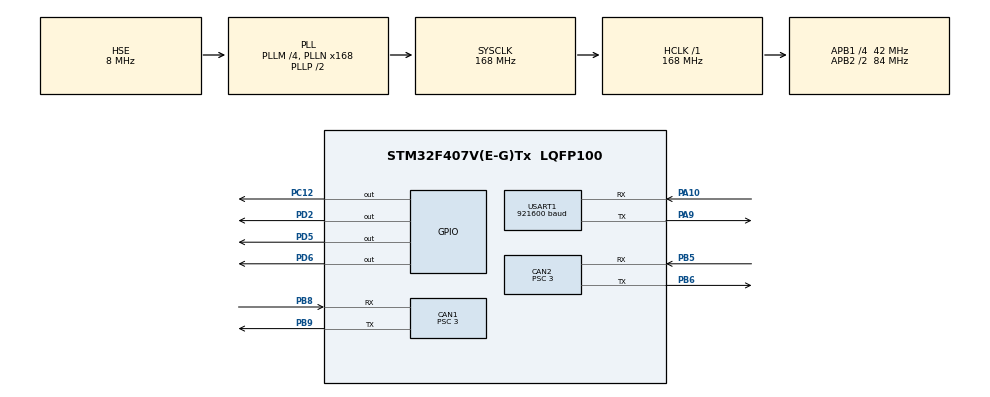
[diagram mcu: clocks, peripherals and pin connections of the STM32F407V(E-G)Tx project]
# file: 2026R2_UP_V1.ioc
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CAN1.ABOM=ENABLE
CAN1.AWUM=ENABLE
CAN1.BS1=CAN_BS1_9TQ
CAN1.BS2=CAN_BS2_4TQ
CAN1.CalculateBaudRate=1000000
CAN1.CalculateTimeBit=1000
CAN1.CalculateTimeQuantum=71.42857142857143
CAN1.NART=ENABLE
CAN1.Prescaler=3
CAN2.BS1=CAN_BS1_9TQ
CAN2.BS2=CAN_BS2_4TQ
CAN2.CalculateBaudRate=1000000
CAN2.CalculateTimeBit=1000
CAN2.CalculateTimeQuantum=71.42857142857143
CAN2.NART=ENABLE
CAN2.Prescaler=3
Dma.Request0=USART1_RX
Dma.Request1=USART1_TX
Dma.USART1_RX.0.Direction=DMA_PERIPH_TO_MEMORY
Dma.USART1_RX.0.FIFOMode=DMA_FIFOMODE_DISABLE
Dma.USART1_RX.0.Instance=DMA2_Stream2
Dma.USART1_RX.0.MemDataAlignment=DMA_MDATAALIGN_BYTE
Dma.USART1_RX.0.MemInc=DMA_MINC_ENABLE
Dma.USART1_RX.0.Mode=DMA_NORMAL
Dma.USART1_RX.0.PeriphDataAlignment=DMA_PDATAALIGN_BYTE
Dma.USART1_RX.0.PeriphInc=DMA_PINC_DISABLE
Dma.USART1_RX.0.Priority=DMA_PRIORITY_LOW
Dma.USART1_TX.1.Direction=DMA_MEMORY_TO_PERIPH
Dma.USART1_TX.1.FIFOMode=DMA_FIFOMODE_DISABLE
Dma.USART1_TX.1.Instance=DMA2_Stream7
Dma.USART1_TX.1.MemDataAlignment=DMA_MDATAALIGN_BYTE
Dma.USART1_TX.1.MemInc=DMA_MINC_ENABLE
Dma.USART1_TX.1.Mode=DMA_NORMAL
Dma.USART1_TX.1.PeriphDataAlignment=DMA_PDATAALIGN_BYTE
Dma.USART1_TX.1.PeriphInc=DMA_PINC_DISABLE
Dma.USART1_TX.1.Priority=DMA_PRIORITY_LOW
FREERTOS.Tasks01=WithinBoardComm,0,128,withinBoardCommunicate,Default,NULL,Dynamic,NULL,NULL;SendCANmsg,-3,1024,sendCANmsg,Default,NULL,Dynamic,NULL,NULL;Calculation,-3,512,calculation,Default,NULL,Dynamic,NULL,NULL;StateMachine,-3,1024,myStateMachine,Default,NULL,Dynamic,NULL,NULL
Mcu.Family=STM32F4
Mcu.Name=STM32F407V(E-G)Tx
Mcu.Package=LQFP100
NVIC.CAN1_RX0_IRQn=true\:5\:0\:false\:false\:true\:true\:true\:true\:true
NVIC.CAN2_RX0_IRQn=true\:5\:0\:false\:false\:true\:true\:true\:true\:true
NVIC.DMA2_Stream2_IRQn=true\:5\:0\:false\:false\:true\:true\:false\:true\:true
NVIC.DMA2_Stream7_IRQn=true\:5\:0\:false\:false\:true\:true\:false\:true\:true
NVIC.PriorityGroup=NVIC_PRIORITYGROUP_4
NVIC.TIM3_IRQn=true\:5\:0\:false\:false\:true\:true\:true\:true\:true
NVIC.TIM6_DAC_IRQn=true\:15\:0\:false\:false\:true\:false\:false\:true\:true
NVIC.TimeBase=TIM6_DAC_IRQn
NVIC.TimeBaseIP=TIM6
NVIC.USART1_IRQn=true\:5\:0\:false\:false\:true\:true\:false\:true\:true
PA10.GPIO_PuPd=GPIO_PULLUP
PA10.Mode=Asynchronous
PA10.Signal=USART1_RX
PA13.Mode=Serial_Wire
PA13.Signal=SYS_JTMS-SWDIO
PA14.Mode=Serial_Wire
PA14.Signal=SYS_JTCK-SWCLK
PA9.GPIO_PuPd=GPIO_PULLUP
PA9.Mode=Asynchronous
PA9.Signal=USART1_TX
PB5.GPIO_PuPd=GPIO_PULLUP
PB5.Mode=CAN_Activate
PB5.Signal=CAN2_RX
PB6.GPIO_PuPd=GPIO_PULLUP
PB6.Mode=CAN_Activate
PB6.Signal=CAN2_TX
PB8.GPIO_PuPd=GPIO_PULLUP
PB8.Mode=CAN_Activate
PB8.Signal=CAN1_RX
PB9.GPIO_PuPd=GPIO_PULLUP
PB9.Mode=CAN_Activate
PB9.Signal=CAN1_TX
PC12.GPIO_PuPd=GPIO_PULLUP
PC12.GPIO_Speed=GPIO_SPEED_FREQ_VERY_HIGH
PC12.Signal=GPIO_Output
PC14-OSC32_IN.Mode=LSE-External-Oscillator
PC14-OSC32_IN.Signal=RCC_OSC32_IN
PC15-OSC32_OUT.Mode=LSE-External-Oscillator
PC15-OSC32_OUT.Signal=RCC_OSC32_OUT
PD2.GPIO_PuPd=GPIO_PULLDOWN
PD2.GPIO_Speed=GPIO_SPEED_FREQ_VERY_HIGH
PD2.Signal=GPIO_Output
PD5.GPIO_PuPd=GPIO_PULLUP
PD5.GPIO_Speed=GPIO_SPEED_FREQ_VERY_HIGH
PD5.Signal=GPIO_Output
PD6.GPIO_PuPd=GPIO_PULLDOWN
PD6.GPIO_Speed=GPIO_SPEED_FREQ_VERY_HIGH
PD6.Signal=GPIO_Output
PH0-OSC_IN.Mode=HSE-External-Oscillator
PH0-OSC_IN.Signal=RCC_OSC_IN
PH1-OSC_OUT.Mode=HSE-External-Oscillator
PH1-OSC_OUT.Signal=RCC_OSC_OUT
ProjectManager.HeapSize=0x200
ProjectManager.StackSize=0x400
ProjectManager.TargetToolchain=MDK-ARM V5.32
RCC.48MHZClocksFreq_Value=84000000
RCC.AHBFreq_Value=168000000
RCC.APB1CLKDivider=RCC_HCLK_DIV4
RCC.APB1Freq_Value=42000000
RCC.APB1TimFreq_Value=84000000
RCC.APB2CLKDivider=RCC_HCLK_DIV2
RCC.APB2Freq_Value=84000000
RCC.APB2TimFreq_Value=168000000
RCC.CortexFreq_Value=168000000
RCC.HCLKFreq_Value=168000000
RCC.HSE_VALUE=8000000
RCC.HSI_VALUE=16000000
RCC.PLLM=4
RCC.PLLN=168
RCC.PLLSourceVirtual=RCC_PLLSOURCE_HSE
RCC.SYSCLKFreq_VALUE=168000000
RCC.SYSCLKSource=RCC_SYSCLKSOURCE_PLLCLK
RCC.VCOOutputFreq_Value=336000000
TIM3.Period=9999
TIM3.Prescaler=8399
USART1.BaudRate=921600
USART1.VirtualMode=VM_ASYNC
VP_FREERTOS_VS_CMSIS_V1.Mode=CMSIS_V1
VP_SYS_VS_tim6.Mode=TIM6
VP_TIM3_VS_ClockSourceINT.Mode=Internal
board=custom

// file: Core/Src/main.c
/* USER CODE BEGIN Header */
/**
  ******************************************************************************
  * @file           : main.c
  * @brief          : Main program body
  ******************************************************************************
  * @attention
  *
  * Copyright (c) 2025 STMicroelectronics.
  * All rights reserved.
  *
  * This software is licensed under terms that can be found in the LICENSE file
  * in the root directory of this software component.
  * If no LICENSE file comes with this software, it is provided AS-IS.
  *
  ******************************************************************************
  */
/* USER CODE END Header */
#include "main.h"
#include "cmsis_os.h"
#include "can.h"
#include "dma.h"
#include "tim.h"
#include "usart.h"
#include "gpio.h"

/* USER CODE BEGIN Includes */
#include "Robot.h"
#include "CANBsp.h"
#include "dm_motor.h"
#include "LK_motor.h"
#include "J60_motor.h"
#include "DJI_motor.h"
/* USER CODE END Includes */

void SystemClock_Config(void);
void MX_FREERTOS_Init(void);

int main(void)
{

  /* MCU Configuration--------------------------------------------------------*/

  /* Reset of all peripherals, Initializes the Flash interface and the Systick. */
  HAL_Init();

  /* Configure the system clock */
  SystemClock_Config();

  /* Initialize all configured peripherals */
  MX_GPIO_Init();
  MX_DMA_Init();
  MX_CAN1_Init();
  MX_CAN2_Init();
  MX_USART1_UART_Init();
  MX_TIM3_Init();
  /* USER CODE BEGIN 2 */
	can1_start();
	can2_start();
	HAL_TIM_Base_Start_IT(&htim3);
	__HAL_UART_ENABLE_IT(&huart1,UART_IT_IDLE);
  HAL_UART_Receive_DMA(&huart1, RxBufFromZGT, sizeof(RxBufFromZGT));
	Deep_Init(&leftShoulder,&leftShoulderCMD);
	Deep_Init(&rightShoulder,&rightShoulderCMD);
  CAN_8016_Open(&hcan1,0x141);
  dm_motor_enable(&hcan2,&stretch_DM);
	DJIMotorStart();
  /* USER CODE END 2 */

  /* Call init function for freertos objects (in cmsis_os2.c) */
  MX_FREERTOS_Init();

  /* Start scheduler */
  osKernelStart();

  /* We should never get here as control is now taken by the scheduler */

  /* Infinite loop */
  while (1)
  {

  }
}

void SystemClock_Config(void)
{
  RCC_OscInitTypeDef RCC_OscInitStruct = {0};
  RCC_ClkInitTypeDef RCC_ClkInitStruct = {0};

  /** Configure the main internal regulator output voltage
  */
  __HAL_RCC_PWR_CLK_ENABLE();
  __HAL_PWR_VOLTAGESCALING_CONFIG(PWR_REGULATOR_VOLTAGE_SCALE1);

  /** Initializes the RCC Oscillators according to the specified parameters
  * in the RCC_OscInitTypeDef structure.
  */
  RCC_OscInitStruct.OscillatorType = RCC_OSCILLATORTYPE_HSE;
  RCC_OscInitStruct.HSEState = RCC_HSE_ON;
  RCC_OscInitStruct.PLL.PLLState = RCC_PLL_ON;
  RCC_OscInitStruct.PLL.PLLSource = RCC_PLLSOURCE_HSE;
  RCC_OscInitStruct.PLL.PLLM = 4;
  RCC_OscInitStruct.PLL.PLLN = 168;
  RCC_OscInitStruct.PLL.PLLP = RCC_PLLP_DIV2;
  RCC_OscInitStruct.PLL.PLLQ = 4;
  if (HAL_RCC_OscConfig(&RCC_OscInitStruct) != HAL_OK)
  {
    Error_Handler();
  }

  /** Initializes the CPU, AHB and APB buses clocks
  */
  RCC_ClkInitStruct.ClockType = RCC_CLOCKTYPE_HCLK|RCC_CLOCKTYPE_SYSCLK
                              |RCC_CLOCKTYPE_PCLK1|RCC_CLOCKTYPE_PCLK2;
  RCC_ClkInitStruct.SYSCLKSource = RCC_SYSCLKSOURCE_PLLCLK;
  RCC_ClkInitStruct.AHBCLKDivider = RCC_SYSCLK_DIV1;
  RCC_ClkInitStruct.APB1CLKDivider = RCC_HCLK_DIV4;
  RCC_ClkInitStruct.APB2CLKDivider = RCC_HCLK_DIV2;

  if (HAL_RCC_ClockConfig(&RCC_ClkInitStruct, FLASH_LATENCY_5) != HAL_OK)
  {
    Error_Handler();
  }
}

void HAL_TIM_PeriodElapsedCallback(TIM_HandleTypeDef *htim)
{
  if (htim->Instance == TIM6)
  {
    HAL_IncTick();
  }
}

void Error_Handler(void)
{
  __disable_irq();
  while (1)
  {
  }
}

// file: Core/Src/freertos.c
/* USER CODE BEGIN Header */
/**
  ******************************************************************************
  * File Name          : freertos.c
  * Description        : Code for freertos applications
  ******************************************************************************
  * @attention
  *
  * Copyright (c) 2025 STMicroelectronics.
  * All rights reserved.
  *
  * This software is licensed under terms that can be found in the LICENSE file
  * in the root directory of this software component.
  * If no LICENSE file comes with this software, it is provided AS-IS.
  *
  ******************************************************************************
  */
/* USER CODE END Header */

#include "FreeRTOS.h"
#include "task.h"
#include "main.h"
#include "cmsis_os.h"

/* USER CODE BEGIN Includes */
#include "can.h"
#include "usart.h"
#include "StretchableArm.h"
#include "DoubleArm.h"
#include "Robot.h"
#include "CANBsp.h"
#include <string.h>
#include <math.h>
#include "dm_motor.h"
#include "LK_motor.h"
#include "DJI_motor.h"
#include "J60_motor.h"
#include "StateMachine.h"
/* USER CODE END Includes */

osThreadId WithinBoardCommHandle;
osThreadId SendCANmsgHandle;
osThreadId CalculationHandle;
osThreadId StateMachineHandle;

void withinBoardCommunicate(void const * argument);
void sendCANmsg(void const * argument);
void calculation(void const * argument);
void myStateMachine(void const * argument);

void MX_FREERTOS_Init(void); /* (MISRA C 2004 rule 8.1) */

/* GetIdleTaskMemory prototype (linked to static allocation support) */
void vApplicationGetIdleTaskMemory( StaticTask_t **ppxIdleTaskTCBBuffer, StackType_t **ppxIdleTaskStackBuffer, uint32_t *pulIdleTaskStackSize );

/* USER CODE BEGIN GET_IDLE_TASK_MEMORY */
static StaticTask_t xIdleTaskTCBBuffer;
static StackType_t xIdleStack[configMINIMAL_STACK_SIZE];

void vApplicationGetIdleTaskMemory( StaticTask_t **ppxIdleTaskTCBBuffer, StackType_t **ppxIdleTaskStackBuffer, uint32_t *pulIdleTaskStackSize )
{
  *ppxIdleTaskTCBBuffer = &xIdleTaskTCBBuffer;
  *ppxIdleTaskStackBuffer = &xIdleStack[0];
  *pulIdleTaskStackSize = configMINIMAL_STACK_SIZE;
  /* place for user code */
}
/* USER CODE END GET_IDLE_TASK_MEMORY */

void MX_FREERTOS_Init(void) {

  /* Create the thread(s) */
  /* definition and creation of WithinBoardComm */
  osThreadDef(WithinBoardComm, withinBoardCommunicate, osPriorityNormal, 0, 128);
  WithinBoardCommHandle = osThreadCreate(osThread(WithinBoardComm), NULL);

  /* definition and creation of SendCANmsg */
  osThreadDef(SendCANmsg, sendCANmsg, osPriorityIdle, 0, 1024);
  SendCANmsgHandle = osThreadCreate(osThread(SendCANmsg), NULL);

  /* definition and creation of Calculation */
  osThreadDef(Calculation, calculation, osPriorityIdle, 0, 512);
  CalculationHandle = osThreadCreate(osThread(Calculation), NULL);

  /* definition and creation of StateMachine */
  osThreadDef(StateMachine, myStateMachine, osPriorityIdle, 0, 1024);
  StateMachineHandle = osThreadCreate(osThread(StateMachine), NULL);

}

/* USER CODE BEGIN Header_withinBoardCommunicate */
	UBaseType_t this_stack_min=0;
	eTaskState this_task_state;
/**
  * @brief  Function implementing the WithinBoardComm thread.
  * @param  argument: Not used
  * @retval None
  */
/* USER CODE END Header_withinBoardCommunicate */
void withinBoardCommunicate(void const * argument)
{
  /* USER CODE BEGIN withinBoardCommunicate */
	TxBufToZGT[0]=0x33;
	TxBufToZGT[16]=0x55;

//	uint8_t calc_cnt=0;
  /* Infinite loop */
  for(;;)
  {
//		TxBufToZGT[1]=feedback_DA;
//		TxBufToZGT[2]=feedback_SA;
		for(uint16_t i=1;i<15;i++){
			TxBufToZGT[i]=0;
		}
		TxBufToZGT[15]=system_monitor.stretch_LK_fps/10;
		switch(feedback_DA){
			case 9:
				TxBufToZGT[1]=10;
				break;
			case 10:
				TxBufToZGT[2]=10;
				break;
			case 20:
				TxBufToZGT[3]=10;
				break;
			case 30:
				TxBufToZGT[4]=10;
				break;
			case 40:
				TxBufToZGT[5]=10;
				break;
			default:
				break;
		}
		switch(feedback_SA){
			case 10:
				TxBufToZGT[6]=10;
				break;
			case 20:
				if(height_flag){
					TxBufToZGT[7]=10;
				}else{
					TxBufToZGT[8]=10;
				}
				break;
			case 30:
				TxBufToZGT[10]=10;
				break;
			case 40:
				TxBufToZGT[12]=10;
				break;
			case 50:
				TxBufToZGT[14]=10;

				break;
			case 60:
				TxBufToZGT[13]=10;
				break;
			case 70:
				TxBufToZGT[11]=10;
				break;
			case 80:
				TxBufToZGT[9]=10;
				break;
			default:
				break;
		}
		if (Tx_Completed_Flag){
			//Manage Tx Msg
      HAL_StatusTypeDef status = HAL_UART_Transmit_DMA(&huart1, TxBufToZGT, sizeof(TxBufToZGT));
			if (status == HAL_OK)
			{
        Tx_Completed_Flag = 0;
				system_monitor.WBCT_cnt++;
			}
		}
//		this_stack_min=uxTaskGetStackHighWaterMark(WithinBoardCommHandle);
//		this_task_state=eTaskGetState(WithinBoardCommHandle);
    vTaskDelay(pdMS_TO_TICKS(1));
  }
  /* USER CODE END withinBoardCommunicate */
}

void sendCANmsg(void const * argument)
{
  /* USER CODE BEGIN sendCANmsg */
	uint8_t cnt_send=0;
//	leftShoulderCMD.kd_=0;
//	leftShoulderCMD.kp_=0;
//	leftShoulderCMD.motor_id_=1;
//	leftShoulderCMD.torque_=0;
//	rightShoulderCMD.kd_=0;
//	rightShoulderCMD.kp_=0;
//	rightShoulderCMD.motor_id_=2;
//	rightShoulderCMD.torque_=0;
	leftShoulderCMD.kd_=4;
	leftShoulderCMD.kp_=98;
	leftShoulderCMD.position_=0.25;
	leftShoulderCMD.motor_id_=1;
	leftShoulderCMD.torque_=0;
	rightShoulderCMD.kd_=4;
	rightShoulderCMD.kp_=86;
	rightShoulderCMD.position_=-0.2;
	rightShoulderCMD.motor_id_=2;
	rightShoulderCMD.torque_=0;
	g_cur_LK=0;
	stretch_LK.outerTarget=-118;
	stretch_DM.ctrl.kp_set=30;
	stretch_DM.ctrl.kd_set=1.2;
	stretch_DM.ctrl.pos_set=2.59;
  /* Infinite loop */
  for(;;)
  {
		SetMotionCMD(&leftShoulderCMD,leftShoulder.motor_id_,4,leftShoulderCMD.position_,leftShoulderCMD.velocity_,gTorqueLeft,leftShoulderCMD.kp_,leftShoulderCMD.kd_);
    SetMotionCMD(&rightShoulderCMD,rightShoulder.motor_id_,4,rightShoulderCMD.position_,rightShoulderCMD.velocity_,gTorqueRight,rightShoulderCMD.kp_,rightShoulderCMD.kd_);
    leftShoulderCMD.cmd_=4;
//		CANx_SendstdData(&hcan1,0x300,AirOperaterCtrl,1);
		CAN_Send_DeepMsg(&leftShoulderCMD);
		rightShoulderCMD.cmd_=4;
		CAN_Send_DeepMsg(&rightShoulderCMD);
    CAN_8016_SendCurrent_Single(&hcan1,0x141,stretch_LK.lk_pid.inner.fpU+g_cur_LK);
//		CAN_8016_SendCurrent_Single(&hcan1,0x141,0);
		cnt_send++;
		if(cnt_send==2){
			CAN_Sendcurrent(&hcan2,0x200,left_2006_1.motor_pid.inner.fpU,left_2006_2.motor_pid.inner.fpU,right_2006_1.motor_pid.inner.fpU,right_2006_2.motor_pid.inner.fpU);
//			CAN_Sendcurrent(&hcan2,0x200,left_2006_1.motor_pid.inner.fpU,left_2006_2.motor_pid.inner.fpU,0,0);
			CAN_Sendcurrent(&hcan2,0x1FF,stretch_2006.motor_pid.inner.fpU,0,0,0);
			mit_ctrl(&hcan2,&stretch_DM,stretch_DM.id,stretch_DM.ctrl.pos_set,stretch_DM.ctrl.vel_set,stretch_DM.ctrl.kp_set,stretch_DM.ctrl.kd_set,gTorqueDM);
			cnt_send=0;
		}
//		    leftShoulderCMD.cmd_=4;
////		CANx_SendstdData(&hcan1,0x300,AirOperaterCtrl,1);
//		CAN_Send_DeepMsg(&leftShoulderCMD);
//		rightShoulderCMD.cmd_=4;
//		CAN_Send_DeepMsg(&rightShoulderCMD);
//    CAN_8016_SendCurrent_Single(&hcan2,0x141,stretch_LK.lk_pid.inner.fpU+g_cur_LK);
////		CAN_8016_SendCurrent_Single(&hcan1,0x141,0);
//		cnt_send++;
//		if(cnt_send==2){
//			CAN_Sendcurrent(&hcan1,0x200,left_2006_1.motor_pid.inner.fpU,left_2006_2.motor_pid.inner.fpU,right_2006_1.motor_pid.inner.fpU,right_2006_2.motor_pid.inner.fpU);
////			CAN_Sendcurrent(&hcan2,0x200,left_2006_1.motor_pid.inner.fpU,left_2006_2.motor_pid.inner.fpU,0,0);
//			CAN_Sendcurrent(&hcan1,0x1FF,stretch_2006.motor_pid.inner.fpU,0,0,0);
//			mit_ctrl(&hcan1,&stretch_DM,stretch_DM.id,stretch_DM.ctrl.pos_set,stretch_DM.ctrl.vel_set,stretch_DM.ctrl.kp_set,stretch_DM.ctrl.kd_set,gTorqueDM);
//			cnt_send=0;
//		}
    system_monitor.SCMT_cnt++;
		vTaskDelay(pdMS_TO_TICKS(1));
  }
  /* USER CODE END sendCANmsg */
}

/* USER CODE BEGIN Header_calculation */
uint8_t big_flag,lil_flag;
fp32 roll_L0,pitch_L0,roll_R0,pitch_R0;
uint8_t test_mode=0,error_flag=0;
// 读取错误计数器
uint32_t esr_value;
uint8_t tec;
uint8_t rec;
uint8_t can2_error_flag,can2_error_flag_passive,lec,boff;
uint32_t ESR,TEC,LEC,REC;
/**
* @brief Function implementing the Calculation thread.
* @param argument: Not used
* @retval None
*/
/* USER CODE END Header_calculation */
void calculation(void const * argument)
{
  /* USER CODE BEGIN calculation */
	DJIMotorStart();
	LK_PID_Set();
	AirOperaterCtrlBuf[5]=1;
	pushAndPull(big_flag,0);
	pushAndPull(lil_flag,1);
  /* Infinite loop */
  for(;;)
  {
//		pushAndPull(big_flag,0);
//		pushAndPull(lil_flag,1);
		gravityCompensation_SAtest();
		gravityCompensation_DAtest(gravityCompensation_DA_state);
//		wristCtrl_L(roll_L0,pitch_L0,&wrist_L);
//		wristCtrl_L(roll_R0,pitch_R0,&wrist_R);
//		gravityCompensation_SA(gravityCompensation_SA_state);
//		gravityCompensation_DA(gravityCompensation_DA_state);
		DJI_Pos_Ctrl(wrist_L.motor1,2*wrist_L.rollCtrl+wrist_L.pitchCtrl);
		DJI_Pos_Ctrl(wrist_L.motor2,2*wrist_L.rollCtrl-wrist_L.pitchCtrl);
		DJI_Pos_Ctrl(wrist_R.motor1,2*wrist_R.rollCtrl+wrist_R.pitchCtrl);
		DJI_Pos_Ctrl(wrist_R.motor2,2*wrist_R.rollCtrl-wrist_R.pitchCtrl);
		DJI_Pos_Ctrl(&stretch_2006,stretch_2006.outerTarget);
		LK_Pos_Ctrl(&stretch_LK,stretch_LK.outerTarget);
		AirOperaterCtrl[0]=bin_array_to_u8(AirOperaterCtrlBuf);
		if(test_mode==1){
			if(system_monitor.stretch_DM_fps==0){
				error_flag=1;
			}
		}

		esr_value = hcan2.Instance->ESR;
		tec = (esr_value & CAN_ESR_TEC) >> 24;
		rec = (esr_value & CAN_ESR_REC) >> 16;
		lec = (esr_value & CAN_ESR_LEC) >> 4;
		boff = (esr_value & CAN_ESR_BOFF) >> 2;

		// 状态判断
//		if (boff) {
//				can2_error_flag=1;
//				HAL_CAN_DeInit(&hcan2);
//				HAL_CAN_Init(&hcan2);
//				can2_start();
//				boff=0;
//		} else if (tec > 127 || rec > 127) {
//				can2_error_flag_passive=1;
//		}else{
//			can2_error_flag=0;
//		}
		system_monitor.CT_cnt++;
    vTaskDelay(pdMS_TO_TICKS(1));
  }
  /* USER CODE END calculation */
}

void myStateMachine(void const * argument)
{
  /* USER CODE BEGIN myStateMachine */

		uint32_t high_tec_count = 0;
  /* Infinite loop */
  for(;;)
  {
 		stateMachine();
//		ESR=hcan1.Instance->ESR;
//		TEC= (ESR >> 16) & 0xFF;
//		uint32_t esr = CAN1->ESR;
//    uint32_t tec = (esr >> 16) & 0xFF;
//    LEC=(ESR& CAN_ESR_LEC) >> 4;
//
//    static uint32_t high_tec_count = 0;
//
//    if (tec > 200) {
//        high_tec_count++;
//
//
//        if (high_tec_count >= 3) {
//
//            CAN1->MCR |= CAN_MCR_INRQ;
//
//
//            uint32_t timeout = 1000;
//            while (!(CAN1->MSR & CAN_MSR_INAK) && timeout--) {
//
//            }
//
//            vTaskDelay(1);
//
//            CAN1->MCR &= ~CAN_MCR_INRQ;
//
//            timeout = 1000;
//            while ((CAN1->MSR & CAN_MSR_INAK) && timeout--) {
//            }
//
//            high_tec_count = 0;
//        }
//    } else {
//        high_tec_count = 0;
//    }
		system_monitor.MSMT_cnt++;
    vTaskDelay(pdMS_TO_TICKS(1));
  }
  /* USER CODE END myStateMachine */
}
